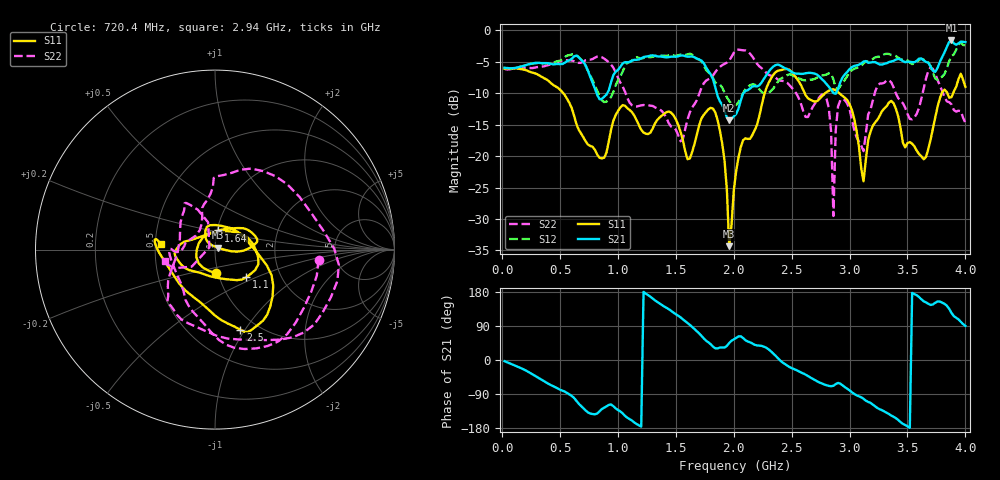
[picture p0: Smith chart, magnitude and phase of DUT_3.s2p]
# Hz S DB R 50
! CMT, S5180, 51801906, 22.3.3/1
! Date: 27/01/2023 17:18:47
! Data: Format (Calibration Info)
! Freq	S11:dB/Ang(F2)	S21:dB/Ang(F2)	S12:dB/Ang(F2)	S22:dB/Ang(F2)
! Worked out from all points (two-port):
!   200 points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, 20.5 MHz to 4 GHz, reference 50 ohm
!   highest |S21| = -1.60 dB at 3.88 GHz (marker M1); lowest = -14.3 dB at 1.96 GHz (marker M2)
!   |S21| within 3 dB of the highest: 1.183 GHz to 1.697 GHz (514.1 MHz wide, 35.7 % of centre); 3.79 GHz to end of sweep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
!   lowest |S11| = -34.3 dB at 1.96 GHz (marker M3), VSWR 1.04, Z = 51.6 + j1.08 ohm
!   |S11| at or under -10 dB: 527.8 MHz to 2.267 GHz (1.739 GHz wide, 124 % of centre); 2.613 GHz to 2.788 GHz (174.8 MHz wide, 6.47 % of centre); 2.911 GHz to 3.796 GHz (884.1 MHz wide, 26.4 % of centre)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
!   |S22| runs from -29.5 to -3.1 dB; largest |S21 - S12| = 0.31
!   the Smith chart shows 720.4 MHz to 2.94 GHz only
!   S11 on the Smith chart (normalised r, x): 720.4 MHz: 0.98, -0.26; 1.1 GHz: 1.34, -0.44; 1.64 GHz: 1.01, +0.22; 2.5 GHz: 0.83, -0.95; 2.94 GHz: 0.54, +0.04
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2.04975e7  -6.08 174.6  -5.94 -3.2  -6.04 -2.3  -6.12 178.1
4.8044e8  -9.12 41.0  -5.33 -75.4  -4.88 -73.3  -5.02 76.0
7.004125e8  -16.98 -72.5  -5.02 -126.9  -5.06 -130.1  -4.96 3.1
7.2041e8  -17.64 -86.8  -5.56 -133.2  -5.67 -135.5  -4.73 -5.7
8.8039e8  -20.25 105.2  -10.54 -125.7  -11.40 -137.8  -4.49 -67.3
1.100362e9  -12.65 -41.2  -5.04 -156.0  -4.98 -151.4  -11.49 -135.8
1.36033e9  -13.82 -153.9  -4.14 149.0  -3.99 152.1  -12.57 -179.0
1.640295e9  -19.32 80.2  -4.15 87.3  -3.85 88.5  -12.26 106.9
1.84027e9  -13.07 7.2  -9.06 30.7  -8.30 48.2  -6.62 72.4
1.960255e9  -34.31 33.0  -14.32 44.9  -11.21 38.6  -4.80 20.3
2.020248e9  -22.38 131.2  -13.29 58.2  -11.87 46.3  -3.15 -7.0
2.500188e9  -6.59 -72.4  -6.62 -21.5  -7.06 -13.0  -9.10 -138.1
2.680165e9  -11.20 -136.0  -6.80 -49.5  -7.81 -37.3  -12.21 141.5
2.820148e9  -9.59 175.6  -8.95 -68.3  -6.83 -54.9  -12.30 113.4
2.860142e9  -9.37 170.6  -9.96 -68.0  -7.79 -69.9  -29.51 158.3
2.88014e9  -9.55 169.9  -10.07 -63.7  -9.14 -70.4  -15.89 -143.8
2.940132e9  -10.43 174.1  -7.44 -67.2  -8.30 -68.0  -10.90 -166.6
3.12011e9  -24.00 100.2  -4.95 -102.1  -5.24 -107.3  -19.20 -66.7
3.340082e9  -11.46 54.2  -5.03 -142.6  -3.75 -136.1  -7.92 46.0
3.700038e9  -17.32 3.5  -5.75 145.2  -5.72 125.9  -5.87 -74.9
3.880015e9  -10.61 -30.1  -1.60 124.3  -4.10 116.7  -11.76 171.6
4e9  -8.99 -82.1  -1.86 89.9  -2.35 89.9  -14.73 136.2
